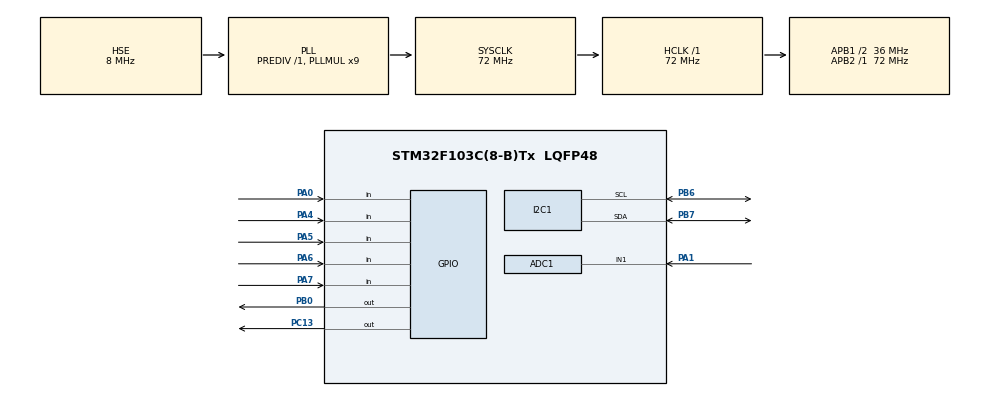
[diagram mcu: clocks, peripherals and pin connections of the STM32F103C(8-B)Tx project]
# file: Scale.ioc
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ADC1.Channel-0\#ChannelRegularConversion=ADC_CHANNEL_1
ADC1.NbrOfConversionFlag=1
ADC1.Rank-0\#ChannelRegularConversion=1
ADC1.SamplingTime-0\#ChannelRegularConversion=ADC_SAMPLETIME_1CYCLE_5
ADC1.master=1
Mcu.Family=STM32F1
Mcu.Name=STM32F103C(8-B)Tx
Mcu.Package=LQFP48
NVIC.PriorityGroup=NVIC_PRIORITYGROUP_4
PA0-WKUP.GPIO_PuPd=GPIO_NOPULL
PA0-WKUP.Signal=GPIO_Input
PA1.Signal=ADCx_IN1
PA13.Mode=Serial_Wire
PA13.Signal=SYS_JTMS-SWDIO
PA14.Mode=Serial_Wire
PA14.Signal=SYS_JTCK-SWCLK
PA4.GPIO_PuPd=GPIO_PULLUP
PA4.Signal=GPIO_Input
PA5.GPIO_PuPd=GPIO_PULLUP
PA5.Signal=GPIO_Input
PA6.GPIO_PuPd=GPIO_PULLUP
PA6.Signal=GPIO_Input
PA7.GPIO_PuPd=GPIO_PULLUP
PA7.Signal=GPIO_Input
PB0.PinState=GPIO_PIN_RESET
PB0.Signal=GPIO_Output
PB6.Mode=I2C
PB6.Signal=I2C1_SCL
PB7.Mode=I2C
PB7.Signal=I2C1_SDA
PC13-TAMPER-RTC.PinState=GPIO_PIN_SET
PC13-TAMPER-RTC.Signal=GPIO_Output
PC14-OSC32_IN.Mode=LSE-External-Oscillator
PC14-OSC32_IN.Signal=RCC_OSC32_IN
PC15-OSC32_OUT.Mode=LSE-External-Oscillator
PC15-OSC32_OUT.Signal=RCC_OSC32_OUT
PD0-OSC_IN.Mode=HSE-External-Oscillator
PD0-OSC_IN.Signal=RCC_OSC_IN
PD1-OSC_OUT.Mode=HSE-External-Oscillator
PD1-OSC_OUT.Signal=RCC_OSC_OUT
ProjectManager.HeapSize=0x200
ProjectManager.StackSize=0x400
ProjectManager.TargetToolchain=MDK-ARM V5.27
RCC.ADCPresc=RCC_ADCPCLK2_DIV6
RCC.AHBFreq_Value=72000000
RCC.APB1CLKDivider=RCC_HCLK_DIV2
RCC.APB1Freq_Value=36000000
RCC.APB1TimFreq_Value=72000000
RCC.APB2Freq_Value=72000000
RCC.APB2TimFreq_Value=72000000
RCC.HCLKFreq_Value=72000000
RCC.PLLMUL=RCC_PLL_MUL9
RCC.PLLSourceVirtual=RCC_PLLSOURCE_HSE
RCC.SYSCLKFreq_VALUE=72000000
RCC.SYSCLKSource=RCC_SYSCLKSOURCE_PLLCLK
RCC.USBFreq_Value=72000000
SH.ADCx_IN1.0=ADC1_IN1,IN1
board=custom

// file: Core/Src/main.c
/* USER CODE BEGIN Header */
/**
  ******************************************************************************
  * @file           : main.c
  * @brief          : Main program body
  ******************************************************************************
  * @attention
  *
  * <h2><center>&copy; Copyright (c) 2021 STMicroelectronics.
  * All rights reserved.</center></h2>
  *
  * This software component is licensed by ST under BSD 3-Clause license,
  * the "License"; You may not use this file except in compliance with the
  * License. You may obtain a copy of the License at:
  *                        opensource.org/licenses/BSD-3-Clause
  *
  ******************************************************************************
  */
/* USER CODE END Header */
#include "main.h"

/* USER CODE BEGIN Includes */
#include "oled.h"
#include "panels.h"
#include "stdio.h"
#include "math.h"
uint32_t adc_value = 0,adc_volt = 0;
char adc_success = 0,adc_on;

/* USER CODE END Includes */

ADC_HandleTypeDef hadc1;

I2C_HandleTypeDef hi2c1;

void SystemClock_Config(void);
static void MX_GPIO_Init(void);
static void MX_I2C1_Init(void);
static void MX_ADC1_Init(void);

/* USER CODE BEGIN 0 */
extern int chosen_fruit;
extern int interface;
extern const double price_watermelon;
extern const double price_apple;
extern const double price_rawegg;
void delay(int dur){
	while(dur--);
}
double max(double a,double b){
	return a>b?a:b;
}
char ringing = 0;
void ring_beep(){
	if(ringing)return;
	ringing = 1;
	HAL_GPIO_WritePin(GPIOB,GPIO_PIN_0,GPIO_PIN_SET);
}
void stop_beep(){
	if(!ringing)return;
	ringing = 0;
	HAL_GPIO_WritePin(GPIOB,GPIO_PIN_0,GPIO_PIN_RESET);
}
double values[500];
uint32_t adc_getValue(){
	adc_success = 0;adc_on = 1;
	HAL_ADC_Start(&hadc1);
	double avg = 0;
	if(HAL_ADC_PollForConversion(&hadc1,100)==HAL_OK){
		adc_success = 1;
		for(int i = 0;i<500;i++){
			adc_value = HAL_ADC_GetValue(&hadc1);
			adc_volt = adc_value*3300/4096;
			avg+=adc_volt;
			values[i] = adc_volt;
			delay(100);
		}
		avg/=500;
		double sigma = 0;
		for(int i = 0;i<500;i++){
			sigma+=(avg-values[i])*(avg-values[i]);
		}
		sigma/=500;sigma = sqrt(sigma);
		double cnt = 0;double useful_data = 0;
		for(int i = 0;i<500;i++){
			if(values[i]>avg+2*sigma||values[i]<avg-2*sigma)continue;
			cnt+=1.0;useful_data+=values[i];
		}
		useful_data/=cnt;
		return useful_data;
	}
	adc_success = 0;
	return 0;
}
double skin = 0.0;
void scan(){
	if(HAL_GPIO_ReadPin(GPIOA,GPIO_PIN_0)==GPIO_PIN_RESET){
		delay(1000);
		if(HAL_GPIO_ReadPin(GPIOA,GPIO_PIN_0)==GPIO_PIN_RESET){
			while(HAL_GPIO_ReadPin(GPIOA,GPIO_PIN_0)==GPIO_PIN_RESET){
				HAL_GPIO_WritePin(GPIOC,GPIO_PIN_13,GPIO_PIN_RESET);
			}
			HAL_GPIO_WritePin(GPIOC,GPIO_PIN_13,GPIO_PIN_SET);
		}
	}
	if(HAL_GPIO_ReadPin(GPIOA,GPIO_PIN_5)==GPIO_PIN_RESET){
		delay(1000);
		if(HAL_GPIO_ReadPin(GPIOA,GPIO_PIN_5)==GPIO_PIN_RESET){
			while(HAL_GPIO_ReadPin(GPIOA,GPIO_PIN_5)==GPIO_PIN_RESET){
				HAL_GPIO_WritePin(GPIOC,GPIO_PIN_13,GPIO_PIN_RESET);
			}
			HAL_GPIO_WritePin(GPIOC,GPIO_PIN_13,GPIO_PIN_SET);
			interface^=1;
			oled_clear();
			if(interface==1){
				show_scale();
			}else{
				show_price_choose();
			}

		}
	}
	if(HAL_GPIO_ReadPin(GPIOA,GPIO_PIN_6)==GPIO_PIN_RESET){

		delay(1000);
		if(HAL_GPIO_ReadPin(GPIOA,GPIO_PIN_6)==GPIO_PIN_RESET){

			while(HAL_GPIO_ReadPin(GPIOA,GPIO_PIN_6)==GPIO_PIN_RESET){
				HAL_GPIO_WritePin(GPIOC,GPIO_PIN_13,GPIO_PIN_RESET);
			}

			HAL_GPIO_WritePin(GPIOC,GPIO_PIN_13,GPIO_PIN_SET);
			if(interface==1)return;
			chosen_fruit++;chosen_fruit%=3;
			show_price_choose();

		}
	}
		if(HAL_GPIO_ReadPin(GPIOA,GPIO_PIN_7)==GPIO_PIN_RESET){
		delay(1000);
		if(HAL_GPIO_ReadPin(GPIOA,GPIO_PIN_7)==GPIO_PIN_RESET){
			while(HAL_GPIO_ReadPin(GPIOA,GPIO_PIN_7)==GPIO_PIN_RESET){
				HAL_GPIO_WritePin(GPIOC,GPIO_PIN_13,GPIO_PIN_RESET);
			}

			HAL_GPIO_WritePin(GPIOC,GPIO_PIN_13,GPIO_PIN_SET);
			if(interface==1)return;
			chosen_fruit--;chosen_fruit%=3;
			chosen_fruit+=3;chosen_fruit%=3;
			show_price_choose();

		}
	}
		if(HAL_GPIO_ReadPin(GPIOA,GPIO_PIN_4)==GPIO_PIN_RESET){
		delay(1000);
		if(HAL_GPIO_ReadPin(GPIOA,GPIO_PIN_4)==GPIO_PIN_RESET){
			while(HAL_GPIO_ReadPin(GPIOA,GPIO_PIN_4)==GPIO_PIN_RESET){
				HAL_GPIO_WritePin(GPIOC,GPIO_PIN_13,GPIO_PIN_RESET);
			}
			HAL_GPIO_WritePin(GPIOC,GPIO_PIN_13,GPIO_PIN_SET);
			if(interface==0)return;
			uint32_t vol = adc_getValue();
			skin = max(vol*0.3271,0.0);
		}
	}
}

char res[30];
/* USER CODE END 0 */

int main(void)
{

  /* MCU Configuration--------------------------------------------------------*/

  /* Reset of all peripherals, Initializes the Flash interface and the Systick. */
  HAL_Init();

  /* Configure the system clock */
  SystemClock_Config();

  /* Initialize all configured peripherals */
  MX_GPIO_Init();
  MX_I2C1_Init();
  MX_ADC1_Init();
  /* USER CODE BEGIN 2 */
	oled_init();
	oled_clear();
	interface^=1;
	show_scale();

  /* USER CODE END 2 */

  /* Infinite loop */
  /* USER CODE BEGIN WHILE */
  HAL_GPIO_WritePin(GPIOC,GPIO_PIN_13,GPIO_PIN_SET);
	while (1)
  {
		scan();
		if(interface == 1){
			uint32_t vol = adc_getValue();
			if(!adc_success)oled_show_string(48,0,"adc_fail",2);
			else {
				//oled_clear_specific_area(48,0);
				//oled_clear_specific_area(64,0);
				//oled_clear_specific_area(80,0);
				//oled_clear_specific_area(88,0);
				//oled_clear_specific_area(96,0);
				double weight = max(vol*0.3271-skin,0.0);
				sprintf(res,"%.1lf g  ",weight);
				oled_show_string(48,0,res,2);
				for(int i = 0;i<30;i++)res[i] = 0;
				if(chosen_fruit==0){
					sprintf(res,"%.2lf   ",weight*price_watermelon);
				}else if(chosen_fruit==1){
					sprintf(res,"%.2lf   ",weight*price_apple);
				}else{
					sprintf(res,"%.2lf   ",weight*price_rawegg);
				}
				oled_show_string(48,2,res,2);
				if(vol*0.3271-0.8713>900){
					ring_beep();
				}else{
					stop_beep();
				}
			}
		}
		HAL_Delay(300);
    /* USER CODE END WHILE */

  }
}

void SystemClock_Config(void)
{
  RCC_OscInitTypeDef RCC_OscInitStruct = {0};
  RCC_ClkInitTypeDef RCC_ClkInitStruct = {0};
  RCC_PeriphCLKInitTypeDef PeriphClkInit = {0};

  /** Initializes the RCC Oscillators according to the specified parameters
  * in the RCC_OscInitTypeDef structure.
  */
  RCC_OscInitStruct.OscillatorType = RCC_OSCILLATORTYPE_HSE;
  RCC_OscInitStruct.HSEState = RCC_HSE_ON;
  RCC_OscInitStruct.HSEPredivValue = RCC_HSE_PREDIV_DIV1;
  RCC_OscInitStruct.HSIState = RCC_HSI_ON;
  RCC_OscInitStruct.PLL.PLLState = RCC_PLL_ON;
  RCC_OscInitStruct.PLL.PLLSource = RCC_PLLSOURCE_HSE;
  RCC_OscInitStruct.PLL.PLLMUL = RCC_PLL_MUL9;
  if (HAL_RCC_OscConfig(&RCC_OscInitStruct) != HAL_OK)
  {
    Error_Handler();
  }
  /** Initializes the CPU, AHB and APB buses clocks
  */
  RCC_ClkInitStruct.ClockType = RCC_CLOCKTYPE_HCLK|RCC_CLOCKTYPE_SYSCLK
                              |RCC_CLOCKTYPE_PCLK1|RCC_CLOCKTYPE_PCLK2;
  RCC_ClkInitStruct.SYSCLKSource = RCC_SYSCLKSOURCE_PLLCLK;
  RCC_ClkInitStruct.AHBCLKDivider = RCC_SYSCLK_DIV1;
  RCC_ClkInitStruct.APB1CLKDivider = RCC_HCLK_DIV2;
  RCC_ClkInitStruct.APB2CLKDivider = RCC_HCLK_DIV1;

  if (HAL_RCC_ClockConfig(&RCC_ClkInitStruct, FLASH_LATENCY_2) != HAL_OK)
  {
    Error_Handler();
  }
  PeriphClkInit.PeriphClockSelection = RCC_PERIPHCLK_ADC;
  PeriphClkInit.AdcClockSelection = RCC_ADCPCLK2_DIV6;
  if (HAL_RCCEx_PeriphCLKConfig(&PeriphClkInit) != HAL_OK)
  {
    Error_Handler();
  }
}

static void MX_ADC1_Init(void)
{

  ADC_ChannelConfTypeDef sConfig = {0};

  /** Common config
  */
  hadc1.Instance = ADC1;
  hadc1.Init.ScanConvMode = ADC_SCAN_DISABLE;
  hadc1.Init.ContinuousConvMode = DISABLE;
  hadc1.Init.DiscontinuousConvMode = DISABLE;
  hadc1.Init.ExternalTrigConv = ADC_SOFTWARE_START;
  hadc1.Init.DataAlign = ADC_DATAALIGN_RIGHT;
  hadc1.Init.NbrOfConversion = 1;
  if (HAL_ADC_Init(&hadc1) != HAL_OK)
  {
    Error_Handler();
  }
  /** Configure Regular Channel
  */
  sConfig.Channel = ADC_CHANNEL_1;
  sConfig.Rank = ADC_REGULAR_RANK_1;
  sConfig.SamplingTime = ADC_SAMPLETIME_1CYCLE_5;
  if (HAL_ADC_ConfigChannel(&hadc1, &sConfig) != HAL_OK)
  {
    Error_Handler();
  }

}

static void MX_I2C1_Init(void)
{

  hi2c1.Instance = I2C1;
  hi2c1.Init.ClockSpeed = 100000;
  hi2c1.Init.DutyCycle = I2C_DUTYCYCLE_2;
  hi2c1.Init.OwnAddress1 = 0;
  hi2c1.Init.AddressingMode = I2C_ADDRESSINGMODE_7BIT;
  hi2c1.Init.DualAddressMode = I2C_DUALADDRESS_DISABLE;
  hi2c1.Init.OwnAddress2 = 0;
  hi2c1.Init.GeneralCallMode = I2C_GENERALCALL_DISABLE;
  hi2c1.Init.NoStretchMode = I2C_NOSTRETCH_DISABLE;
  if (HAL_I2C_Init(&hi2c1) != HAL_OK)
  {
    Error_Handler();
  }

}

static void MX_GPIO_Init(void)
{
  GPIO_InitTypeDef GPIO_InitStruct = {0};

  /* GPIO Ports Clock Enable */
  __HAL_RCC_GPIOC_CLK_ENABLE();
  __HAL_RCC_GPIOD_CLK_ENABLE();
  __HAL_RCC_GPIOA_CLK_ENABLE();
  __HAL_RCC_GPIOB_CLK_ENABLE();

  /*Configure GPIO pin Output Level */
  HAL_GPIO_WritePin(GPIOC, GPIO_PIN_13, GPIO_PIN_SET);

  /*Configure GPIO pin Output Level */
  HAL_GPIO_WritePin(GPIOB, GPIO_PIN_0, GPIO_PIN_RESET);

  /*Configure GPIO pin : PC13 */
  GPIO_InitStruct.Pin = GPIO_PIN_13;
  GPIO_InitStruct.Mode = GPIO_MODE_OUTPUT_PP;
  GPIO_InitStruct.Pull = GPIO_NOPULL;
  GPIO_InitStruct.Speed = GPIO_SPEED_FREQ_LOW;
  HAL_GPIO_Init(GPIOC, &GPIO_InitStruct);

  /*Configure GPIO pin : PA0 */
  GPIO_InitStruct.Pin = GPIO_PIN_0;
  GPIO_InitStruct.Mode = GPIO_MODE_INPUT;
  GPIO_InitStruct.Pull = GPIO_NOPULL;
  HAL_GPIO_Init(GPIOA, &GPIO_InitStruct);

  /*Configure GPIO pins : PA4 PA5 PA6 PA7 */
  GPIO_InitStruct.Pin = GPIO_PIN_4|GPIO_PIN_5|GPIO_PIN_6|GPIO_PIN_7;
  GPIO_InitStruct.Mode = GPIO_MODE_INPUT;
  GPIO_InitStruct.Pull = GPIO_PULLUP;
  HAL_GPIO_Init(GPIOA, &GPIO_InitStruct);

  /*Configure GPIO pin : PB0 */
  GPIO_InitStruct.Pin = GPIO_PIN_0;
  GPIO_InitStruct.Mode = GPIO_MODE_OUTPUT_PP;
  GPIO_InitStruct.Pull = GPIO_NOPULL;
  GPIO_InitStruct.Speed = GPIO_SPEED_FREQ_LOW;
  HAL_GPIO_Init(GPIOB, &GPIO_InitStruct);

}

void Error_Handler(void)
{
  __disable_irq();
  while (1)
  {
  }
}

/************************ (C) COPYRIGHT STMicroelectronics *****END OF FILE****/
